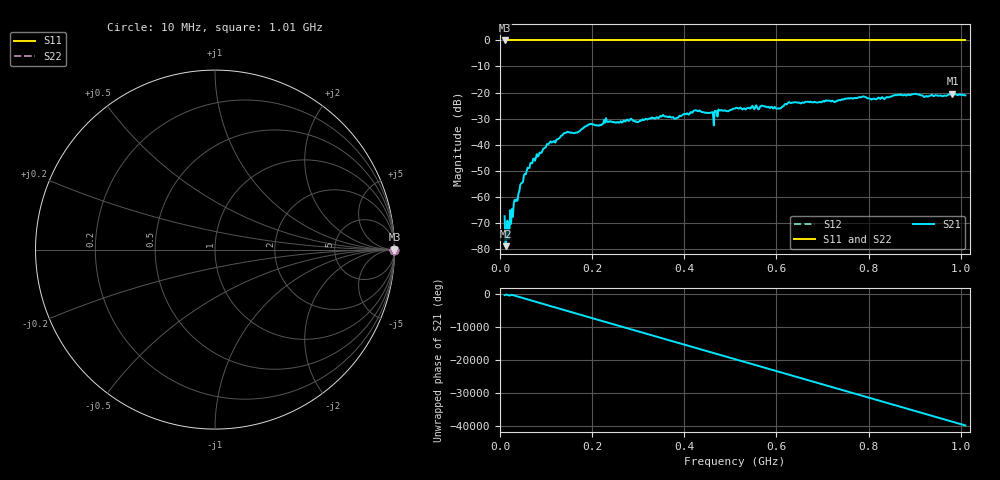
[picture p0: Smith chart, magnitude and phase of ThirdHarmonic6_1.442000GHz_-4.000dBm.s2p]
! 8/16/2025 4:40:32 PM
! C:\ANRITSUVNA\TEMP\TEMP.S2P
! CHANNEL.1
! TR.MEASUREMENT
! RAW.DATA
! RF.CORRECTION.OFF
! AVERAGING.OFF
! IF.BANDWIDTH: 5KHZ
! SWEEPTYPE:  FREQ.SWEEP(Linear)
! Reference Plane Port Info
! PORT:  PORT1  PORT2
! DISTANCE:  0  m  0  m
! TIME:  0  s  0  s
! PHASE.OFFSET:  0  deg.  0  deg.
! LOSS:  0  dB  0  dB
! REF.LOSS:  0  dB  0  dB
! REF.FREQ:  0  Hz  0  Hz
! Power Info
! POWER:  -20  dBm  -20  dBm
! EFF.POWER:  -20  dBm  -20  dBm
! SOURCE.ATTEN:  0  dB  0  dB
! TEST.ATTEN:  0  dB  0  dB
# GHZ S RI R 50.0
! FREQ.GHZ  S11RE  S11IM  S21RE  S21IM  S12RE  S12IM  S22RE  S22IM
!; PortSelection: Port_12
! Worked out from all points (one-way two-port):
!   501 points, 10 MHz to 1.01 GHz, reference 50 ohm
!   highest |S21| = -20.48 dB at 982 MHz (marker M1); lowest = -79.0 dB at 12 MHz (marker M2)
!   lowest |S11| = 0.0 dB at 10 MHz (marker M3)
!   |S11| at or under -10 dB: nowhere
!   |S22| runs from 0.0 to 0.0 dB; largest |S21 - S12| = 1.1
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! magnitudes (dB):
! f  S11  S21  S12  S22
! 10 MHz  0.0  -67.5  0.0  0.0
! 12 MHz  0.0  -79.0  0.0  0.0
! 16 MHz  0.0  -69.2  0.0  0.0
! 30 MHz  0.0  -62.4  0.0  0.0
! 56 MHz  0.0  -51.4  0.0  0.0
! 70 MHz  0.0  -47.2  0.0  0.0
! 106 MHz  0.0  -39.7  0.0  0.0
! 142 MHz  0.0  -35.5  0.0  0.0
! 178 MHz  0.0  -34.0  0.0  0.0
! 230 MHz  0.0  -29.9  0.0  0.0
! 344 MHz  0.0  -29.8  0.0  0.0
! 382 MHz  0.0  -29.9  0.0  0.0
! 424 MHz  0.0  -26.8  0.0  0.0
! 468 MHz  0.0  -27.2  0.0  0.0
! 478 MHz  0.0  -26.9  0.0  0.0
! 510 MHz  0.0  -26.1  0.0  0.0
! 604 MHz  0.0  -26.0  0.0  0.0
! 628 MHz  0.0  -23.7  0.0  0.0
! 678 MHz  0.0  -23.8  0.0  0.0
! 844 MHz  0.0  -21.8  0.0  0.0
! 982 MHz  0.0  -20.5  0.0  0.0
! 1.01 GHz  0.0  -21.1  0.0  0.0
